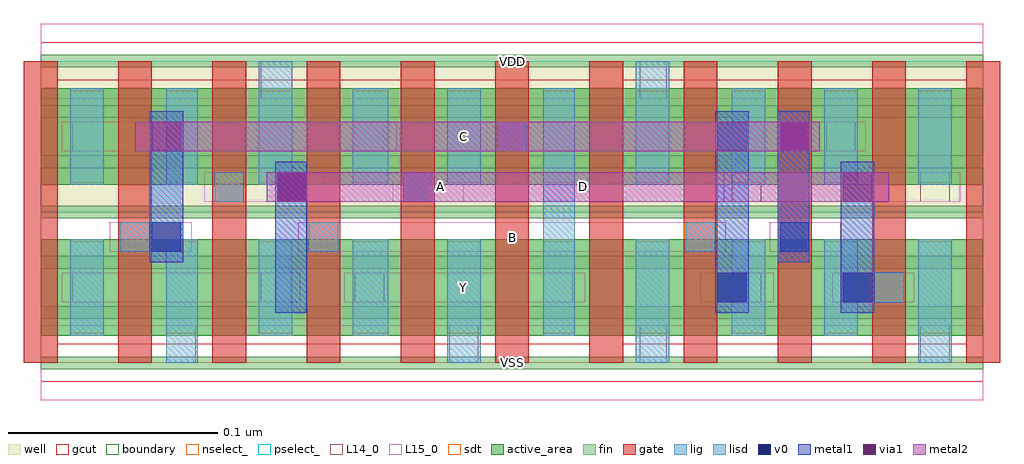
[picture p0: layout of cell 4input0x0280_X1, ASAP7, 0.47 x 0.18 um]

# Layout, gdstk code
import gdstk
lib = gdstk.Library(unit=1e-6, precision=1e-09)
def R(c, l, rs):  # rectangles x0, y0, x1, y1
    for r in rs: c.add(gdstk.rectangle(r[:2], r[2:], *l))
def A(c, l, x, y, w, h, nx, ny, dx, dy):  # array of equal rectangles
    R(c, l, [(x+i*dx, y+j*dy, x+i*dx+w, y+j*dy+h) for i in range(nx) for j in range(ny)])
def P(c, l, *ps):  # polygons
    for p in ps: c.add(gdstk.Polygon(p, *l))
well = (1, 0)
fin = (2, 0)
gate = (7, 0)
gcut = (10, 0)
active_area = (11, 0)
nselect_ = (12, 0)
pselect_ = (13, 0)
L14_0 = (14, 0)
L15_0 = (15, 0)
lig = (16, 0)
lisd = (17, 0)
v0 = (18, 0)
metal1 = (19, 0)
metal2 = (20, 0)
via1 = (21, 0)
sdt = (88, 0)
boundary = (100, 0)

c_4input0x0280_x1 = lib.new_cell('4input0x0280_X1')
R(c_4input0x0280_x1, well, [(0,0.072,0.45,0.144)])
A(c_4input0x0280_x1, fin, 0, -0.003, 0.45, 0.006, 1, 7, 0, 0.024)
A(c_4input0x0280_x1, gate, -0.008, 0, 0.016, 0.144, 11, 1, 0.045, 0)
P(c_4input0x0280_x1, gcut, [(0,-0.009),(0,0),(-0.008,0),(-0.008,0.135),(0.008,0.135),(0.008,0.009),(0.262,0.009),(0.262,0.135),(0.278,0.135),(0.278,0.009),(0.442,0.009),(0.442,0.135),(-0.008,0.135),(-0.008,0.144),(0,0.144),(0,0.153),(0.45,0.153),(0.45,0.144),(0.458,0.144),(0.458,0),(0.45,0),(0.45,-0.009)])
R(c_4input0x0280_x1, active_area, [(0,0.013,0.45,0.059), (0,0.085,0.45,0.131)])
R(c_4input0x0280_x1, nselect_, [(0,0,0.45,0.072)])
R(c_4input0x0280_x1, pselect_, [(0,0.072,0.45,0.144)])
A(c_4input0x0280_x1, L14_0, 0.15, 0.029, 0.014, 0.014, 3, 1, 0.09, 0)
R(c_4input0x0280_x1, L14_0, [(0.06,0,0.074,0.018), (0.195,0,0.209,0.018), (0.286,0,0.299,0.018), (0.42,0,0.434,0.018), (0.015,0.029,0.03,0.043), (0.105,0.029,0.12,0.043), (0.398,0.029,0.412,0.043), (0.038,0.053,0.052,0.067), (0.128,0.053,0.142,0.067), (0.308,0.053,0.322,0.067), (0.353,0.053,0.367,0.067), (0.083,0.077,0.097,0.091), (0.173,0.077,0.187,0.091), (0.33,0.077,0.344,0.091), (0.42,0.077,0.434,0.091), (0.015,0.101,0.03,0.115), (0.15,0.101,0.164,0.115), (0.218,0.101,0.232,0.115), (0.375,0.101,0.389,0.115), (0.105,0.126,0.12,0.144), (0.286,0.126,0.299,0.144)])
R(c_4input0x0280_x1, L15_0, [(0,-0.018,0.45,0.018), (0.01,0.029,0.124,0.043), (0.145,0.029,0.26,0.043), (0.315,0.029,0.35,0.043), (0.378,0.029,0.417,0.043), (0.033,0.053,0.072,0.067), (0.123,0.053,0.327,0.067), (0.348,0.053,0.382,0.067), (0.078,0.077,0.135,0.091), (0.168,0.077,0.202,0.091), (0.326,0.077,0.439,0.091), (0.01,0.101,0.17,0.115), (0.213,0.101,0.394,0.115), (0,0.126,0.45,0.162)])
R(c_4input0x0280_x1, lig, [(0.398,0.029,0.412,0.043), (0.038,0.053,0.052,0.067), (0.128,0.053,0.142,0.067), (0.308,0.053,0.322,0.067), (0.353,0.053,0.367,0.067), (0.083,0.077,0.097,0.091), (0.173,0.077,0.187,0.091), (0.218,0.101,0.232,0.115)])
R(c_4input0x0280_x1, lisd, [(0.06,0,0.075,0.059), (0.194,0,0.21,0.059), (0.284,0,0.3,0.059), (0.419,0,0.435,0.059), (0.014,0.013,0.03,0.059), (0.104,0.013,0.12,0.059), (0.149,0.013,0.166,0.059), (0.24,0.013,0.255,0.131), (0.33,0.013,0.346,0.059), (0.374,0.013,0.39,0.059), (0.014,0.085,0.03,0.131), (0.06,0.085,0.075,0.131), (0.104,0.085,0.12,0.144), (0.149,0.085,0.166,0.131), (0.194,0.085,0.21,0.131), (0.284,0.085,0.3,0.144), (0.33,0.085,0.346,0.131), (0.374,0.085,0.39,0.131), (0.419,0.085,0.435,0.131)])
R(c_4input0x0280_x1, v0, [(0.323,0.029,0.337,0.043), (0.383,0.029,0.397,0.043), (0.053,0.053,0.067,0.067), (0.353,0.053,0.367,0.067), (0.113,0.077,0.127,0.091), (0.323,0.101,0.337,0.115)])
R(c_4input0x0280_x1, metal1, [(0.112,0.024,0.127,0.096), (0.322,0.024,0.338,0.12), (0.382,0.024,0.398,0.096), (0.052,0.048,0.068,0.12), (0.352,0.048,0.367,0.12)])
R(c_4input0x0280_x1, metal2, [(0.108,0.077,0.405,0.091), (0.045,0.101,0.372,0.115)])
R(c_4input0x0280_x1, via1, [(0.113,0.077,0.127,0.091), (0.383,0.077,0.397,0.091), (0.053,0.101,0.067,0.115), (0.353,0.101,0.367,0.115)])
A(c_4input0x0280_x1, sdt, 0.014, 0.014, 0.016, 0.044, 4, 2, 0.09, 0.072)
R(c_4input0x0280_x1, sdt, [(0.06,0.014,0.075,0.058), (0.149,0.014,0.166,0.058), (0.24,0.014,0.255,0.058), (0.33,0.014,0.346,0.058), (0.374,0.014,0.39,0.058), (0.419,0.014,0.435,0.058), (0.06,0.086,0.075,0.13), (0.149,0.086,0.166,0.13), (0.24,0.086,0.255,0.13), (0.33,0.086,0.346,0.13), (0.374,0.086,0.39,0.13), (0.419,0.086,0.435,0.13)])
R(c_4input0x0280_x1, boundary, [(0,0,0.45,0.144)])
c_4input0x0280_x1.add(gdstk.Label('A', (0.191,0.084), layer=15, texttype=251))
c_4input0x0280_x1.add(gdstk.Label('VSS', (0.225,0), layer=15, texttype=251))
c_4input0x0280_x1.add(gdstk.Label('VDD', (0.225,0.144), layer=15, texttype=251))
c_4input0x0280_x1.add(gdstk.Label('B', (0.225,0.06), layer=15, texttype=251))
c_4input0x0280_x1.add(gdstk.Label('VSS', (0.225,0), layer=15, texttype=251))
c_4input0x0280_x1.add(gdstk.Label('VDD', (0.225,0.144), layer=15, texttype=251))
c_4input0x0280_x1.add(gdstk.Label('VSS', (0.225,0), layer=15, texttype=251))
c_4input0x0280_x1.add(gdstk.Label('VDD', (0.225,0.144), layer=15, texttype=251))
c_4input0x0280_x1.add(gdstk.Label('VSS', (0.225,0), layer=15, texttype=251))
c_4input0x0280_x1.add(gdstk.Label('VDD', (0.225,0.144), layer=15, texttype=251))
c_4input0x0280_x1.add(gdstk.Label('Y', (0.202,0.036), layer=15, texttype=251))
c_4input0x0280_x1.add(gdstk.Label('VSS', (0.225,0), layer=15, texttype=251))
c_4input0x0280_x1.add(gdstk.Label('VDD', (0.225,0.144), layer=15, texttype=251))
c_4input0x0280_x1.add(gdstk.Label('VSS', (0.225,0), layer=3, texttype=251))
c_4input0x0280_x1.add(gdstk.Label('VSS', (0.225,0), layer=3, texttype=251))
c_4input0x0280_x1.add(gdstk.Label('VSS', (0.225,0), layer=3, texttype=251))
c_4input0x0280_x1.add(gdstk.Label('VSS', (0.225,0), layer=3, texttype=251))
c_4input0x0280_x1.add(gdstk.Label('VSS', (0.225,0), layer=3, texttype=251))
c_4input0x0280_x1.add(gdstk.Label('VDD', (0.225,0.144), layer=1, texttype=251))
c_4input0x0280_x1.add(gdstk.Label('VDD', (0.225,0.144), layer=1, texttype=251))
c_4input0x0280_x1.add(gdstk.Label('VDD', (0.225,0.144), layer=1, texttype=251))
c_4input0x0280_x1.add(gdstk.Label('VDD', (0.225,0.144), layer=1, texttype=251))
c_4input0x0280_x1.add(gdstk.Label('VDD', (0.225,0.144), layer=1, texttype=251))
c_4input0x0280_x1.add(gdstk.Label('D', (0.259,0.084), layer=20, texttype=251))
c_4input0x0280_x1.add(gdstk.Label('C', (0.202,0.108), layer=20, texttype=251))

lib.write_gds('4input0x0280_X1.gds')
